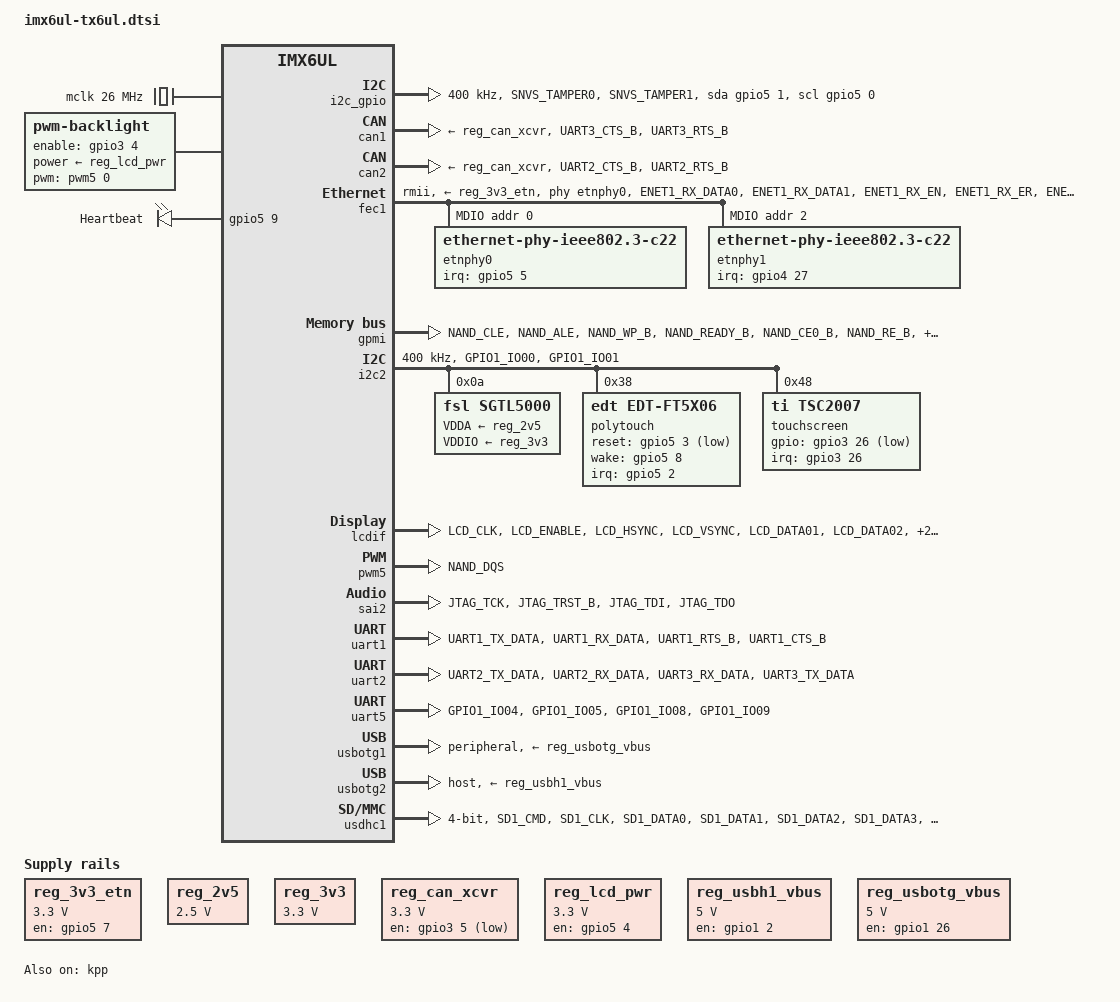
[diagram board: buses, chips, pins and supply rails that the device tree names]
/*
 * Copyright 2015 Lothar Waßmann <LW@KARO-electronics.de>
 *
 * This file is dual-licensed: you can use it either under the terms
 * of the GPL or the X11 license, at your option. Note that this dual
 * licensing only applies to this file, and not this project as a
 * whole.
 *
 *  a) This file is free software; you can redistribute it and/or
 *     modify it under the terms of the GNU General Public License
 *     version 2 as published by the Free Software Foundation.
 *
 *     This file is distributed in the hope that it will be useful,
 *     but WITHOUT ANY WARRANTY; without even the implied warranty of
 *     MERCHANTABILITY or FITNESS FOR A PARTICULAR PURPOSE.  See the
 *     GNU General Public License for more details.
 *
 * Or, alternatively,
 *
 *  b) Permission is hereby granted, free of charge, to any person
 *     obtaining a copy of this software and associated documentation
 *     files (the "Software"), to deal in the Software without
 *     restriction, including without limitation the rights to use,
 *     copy, modify, merge, publish, distribute, sublicense, and/or
 *     sell copies of the Software, and to permit persons to whom the
 *     Software is furnished to do so, subject to the following
 *     conditions:
 *
 *     The above copyright notice and this permission notice shall be
 *     included in all copies or substantial portions of the Software.
 *
 *     THE SOFTWARE IS PROVIDED "AS IS", WITHOUT WARRANTY OF ANY KIND,
 *     EXPRESS OR IMPLIED, INCLUDING BUT NOT LIMITED TO THE WARRANTIES
 *     OF MERCHANTABILITY, FITNESS FOR A PARTICULAR PURPOSE AND
 *     NONINFRINGEMENT. IN NO EVENT SHALL THE AUTHORS OR COPYRIGHT
 *     HOLDERS BE LIABLE FOR ANY CLAIM, DAMAGES OR OTHER LIABILITY,
 *     WHETHER IN AN ACTION OF CONTRACT, TORT OR OTHERWISE, ARISING
 *     FROM, OUT OF OR IN CONNECTION WITH THE SOFTWARE OR THE USE OR
 *     OTHER DEALINGS IN THE SOFTWARE.
 */

#include <dt-bindings/gpio/gpio.h>
#include <dt-bindings/interrupt-controller/irq.h>
#include <dt-bindings/pwm/pwm.h>

/ {
	aliases {
		can0 = &can2;
		can1 = &can1;
		display = &display;
		i2c0 = &i2c2;
		i2c1 = &i2c_gpio;
		i2c2 = &i2c1;
		i2c3 = &i2c3;
		i2c4 = &i2c4;
		lcdif-23bit-pins-a = &pinctrl_disp0_1;
		lcdif-24bit-pins-a = &pinctrl_disp0_2;
		pwm0 = &pwm5;
		reg-can-xcvr = &reg_can_xcvr;
		serial2 = &uart5;
		serial4 = &uart3;
		spi0 = &ecspi2;
		spi1 = &spi_gpio;
		stk5led = &user_led;
		usbh1 = &usbotg2;
		usbotg = &usbotg1;
	};

	chosen {
		stdout-path = &uart1;
	};

	memory@80000000 {
		device_type = "memory";
		reg = <0x80000000 0>; /* will be filled by U-Boot */
	};

	clocks {
		mclk: mclk {
			compatible = "fixed-clock";
			#clock-cells = <0>;
			clock-frequency = <26000000>;
		};
	};

	backlight: backlight {
		compatible = "pwm-backlight";
		pinctrl-names = "default";
		pinctrl-0 = <&pinctrl_lcd_rst>;
		enable-gpios = <&gpio3 4 GPIO_ACTIVE_HIGH>;
		pwms = <&pwm5 0 500000 PWM_POLARITY_INVERTED>;
		power-supply = <&reg_lcd_pwr>;
		/*
		 * a poor man's way to create a 1:1 relationship between
		 * the PWM value and the actual duty cycle
		 */
		brightness-levels = < 0  1  2  3  4  5  6  7  8  9
				     10 11 12 13 14 15 16 17 18 19
				     20 21 22 23 24 25 26 27 28 29
				     30 31 32 33 34 35 36 37 38 39
				     40 41 42 43 44 45 46 47 48 49
				     50 51 52 53 54 55 56 57 58 59
				     60 61 62 63 64 65 66 67 68 69
				     70 71 72 73 74 75 76 77 78 79
				     80 81 82 83 84 85 86 87 88 89
				     90 91 92 93 94 95 96 97 98 99
				    100>;
		default-brightness-level = <50>;
	};

	i2c_gpio: i2c-gpio {
		compatible = "i2c-gpio";
		#address-cells = <1>;
		#size-cells = <0>;
		pinctrl-names = "default";
		pinctrl-0 = <&pinctrl_i2c_gpio>;
		sda-gpios = <&gpio5 1 GPIO_ACTIVE_HIGH>;
		scl-gpios = <&gpio5 0 GPIO_ACTIVE_HIGH>;
		clock-frequency = <400000>;
		status = "okay";

		ds1339: rtc@68 {
			compatible = "dallas,ds1339";
			reg = <0x68>;
			status = "disabled";
		};
	};

	leds {
		compatible = "gpio-leds";

		user_led: led-user {
			label = "Heartbeat";
			pinctrl-names = "default";
			pinctrl-0 = <&pinctrl_led>;
			gpios = <&gpio5 9 GPIO_ACTIVE_HIGH>;
			linux,default-trigger = "heartbeat";
		};
	};

	reg_3v3_etn: regulator-3v3etn {
		compatible = "regulator-fixed";
		regulator-name = "3V3_ETN";
		regulator-min-microvolt = <3300000>;
		regulator-max-microvolt = <3300000>;
		pinctrl-names = "default";
		pinctrl-0 = <&pinctrl_etnphy_power>;
		gpio = <&gpio5 7 GPIO_ACTIVE_HIGH>;
		enable-active-high;
	};

	reg_2v5: regulator-2v5 {
		compatible = "regulator-fixed";
		regulator-name = "2V5";
		regulator-min-microvolt = <2500000>;
		regulator-max-microvolt = <2500000>;
		regulator-always-on;
	};

	reg_3v3: regulator-3v3 {
		compatible = "regulator-fixed";
		regulator-name = "3V3";
		regulator-min-microvolt = <3300000>;
		regulator-max-microvolt = <3300000>;
		regulator-always-on;
	};

	reg_can_xcvr: regulator-canxcvr {
		compatible = "regulator-fixed";
		regulator-name = "CAN XCVR";
		regulator-min-microvolt = <3300000>;
		regulator-max-microvolt = <3300000>;
		pinctrl-names = "default";
		pinctrl-0 = <&pinctrl_flexcan_xcvr>;
		gpio = <&gpio3 5 GPIO_ACTIVE_LOW>;
	};

	reg_lcd_pwr: regulator-lcdpwr {
		compatible = "regulator-fixed";
		regulator-name = "LCD POWER";
		regulator-min-microvolt = <3300000>;
		regulator-max-microvolt = <3300000>;
		pinctrl-names = "default";
		pinctrl-0 = <&pinctrl_lcd_pwr>;
		gpio = <&gpio5 4 GPIO_ACTIVE_HIGH>;
		enable-active-high;
		regulator-boot-on;
		regulator-always-on;
	};

	reg_usbh1_vbus: regulator-usbh1vbus {
		compatible = "regulator-fixed";
		regulator-name = "usbh1_vbus";
		regulator-min-microvolt = <5000000>;
		regulator-max-microvolt = <5000000>;
		pinctrl-names = "default";
		pinctrl-0 = <&pinctrl_usbh1_vbus &pinctrl_usbh1_oc>;
		gpio = <&gpio1 2 GPIO_ACTIVE_HIGH>;
		enable-active-high;
	};

	reg_usbotg_vbus: regulator-usbotgvbus {
		compatible = "regulator-fixed";
		regulator-name = "usbotg_vbus";
		regulator-min-microvolt = <5000000>;
		regulator-max-microvolt = <5000000>;
		pinctrl-names = "default";
		pinctrl-0 = <&pinctrl_usbotg_vbus &pinctrl_usbotg_oc>;
		gpio = <&gpio1 26 GPIO_ACTIVE_HIGH>;
		enable-active-high;
	};

	spi_gpio: spi {
		#address-cells = <1>;
		#size-cells = <0>;
		compatible = "spi-gpio";
		pinctrl-names = "default";
		pinctrl-0 = <&pinctrl_spi_gpio>;
		mosi-gpios = <&gpio1 30 GPIO_ACTIVE_HIGH>;
		miso-gpios = <&gpio1 31 GPIO_ACTIVE_HIGH>;
		sck-gpios = <&gpio1 28 GPIO_ACTIVE_HIGH>;
		num-chipselects = <2>;
		cs-gpios = <
			&gpio1 29 GPIO_ACTIVE_HIGH
			&gpio1 10 GPIO_ACTIVE_HIGH
		>;
		status = "disabled";
	};

	sound {
		compatible = "karo,imx6ul-tx6ul-sgtl5000",
			     "simple-audio-card";
		simple-audio-card,name = "imx6ul-tx6ul-sgtl5000-audio";
		simple-audio-card,format = "i2s";
		simple-audio-card,bitclock-master = <&codec_dai>;
		simple-audio-card,frame-master = <&codec_dai>;
		simple-audio-card,widgets =
			"Microphone", "Mic Jack",
			"Line", "Line In",
			"Line", "Line Out",
			"Headphone", "Headphone Jack";
		simple-audio-card,routing =
			"MIC_IN", "Mic Jack",
			"Mic Jack", "Mic Bias",
			"Headphone Jack", "HP_OUT";

		cpu_dai: simple-audio-card,cpu {
			sound-dai = <&sai2>;
		};

		codec_dai: simple-audio-card,codec {
			sound-dai = <&sgtl5000>;
		};
	};
};

&can1 {
	pinctrl-names = "default";
	pinctrl-0 = <&pinctrl_flexcan1>;
	xceiver-supply = <&reg_can_xcvr>;
	status = "okay";
};

&can2 {
	pinctrl-names = "default";
	pinctrl-0 = <&pinctrl_flexcan2>;
	xceiver-supply = <&reg_can_xcvr>;
	status = "okay";
};

&ecspi2 {
	pinctrl-names = "default";
	pinctrl-0 = <&pinctrl_ecspi2>;
	cs-gpios = <
		&gpio1 29 GPIO_ACTIVE_HIGH
		&gpio1 10 GPIO_ACTIVE_HIGH
	>;
	status = "disabled";
};

&fec1 {
	pinctrl-names = "default";
	pinctrl-0 = <&pinctrl_enet1 &pinctrl_enet1_mdio &pinctrl_etnphy0_rst>;
	phy-mode = "rmii";
	phy-reset-gpios = <&gpio5 6 GPIO_ACTIVE_LOW>;
	phy-supply = <&reg_3v3_etn>;
	phy-handle = <&etnphy0>;
	status = "okay";

	mdio {
		#address-cells = <1>;
		#size-cells = <0>;

		etnphy0: ethernet-phy@0 {
			compatible = "ethernet-phy-ieee802.3-c22";
			reg = <0>;
			pinctrl-names = "default";
			pinctrl-0 = <&pinctrl_etnphy0_int>;
			interrupt-parent = <&gpio5>;
			interrupts = <5 IRQ_TYPE_EDGE_FALLING>;
			status = "okay";
		};

		etnphy1: ethernet-phy@2 {
			compatible = "ethernet-phy-ieee802.3-c22";
			reg = <2>;
			pinctrl-names = "default";
			pinctrl-0 = <&pinctrl_etnphy1_int>;
			interrupt-parent = <&gpio4>;
			interrupts = <27 IRQ_TYPE_EDGE_FALLING>;
			status = "okay";
		};
	};
};

&fec2 {
	pinctrl-names = "default";
	pinctrl-0 = <&pinctrl_enet2 &pinctrl_etnphy1_rst>;
	phy-mode = "rmii";
	phy-reset-gpios = <&gpio4 28 GPIO_ACTIVE_LOW>;
	phy-supply = <&reg_3v3_etn>;
	phy-handle = <&etnphy1>;
	status = "disabled";
};

&gpmi {
	pinctrl-names = "default";
	pinctrl-0 = <&pinctrl_gpmi_nand>;
	nand-on-flash-bbt;
	fsl,no-blockmark-swap;
	status = "okay";
};

&i2c2 {
	pinctrl-names = "default";
	pinctrl-0 = <&pinctrl_i2c2>;
	clock-frequency = <400000>;
	status = "okay";

	sgtl5000: codec@a {
		compatible = "fsl,sgtl5000";
		reg = <0x0a>;
		#sound-dai-cells = <0>;
		VDDA-supply = <&reg_2v5>;
		VDDIO-supply = <&reg_3v3>;
		clocks = <&mclk>;
	};

	polytouch: polytouch@38 {
		compatible = "edt,edt-ft5x06";
		reg = <0x38>;
		pinctrl-names = "default";
		pinctrl-0 = <&pinctrl_edt_ft5x06>;
		interrupt-parent = <&gpio5>;
		interrupts = <2 IRQ_TYPE_EDGE_FALLING>;
		reset-gpios = <&gpio5 3 GPIO_ACTIVE_LOW>;
		wake-gpios = <&gpio5 8 GPIO_ACTIVE_HIGH>;
		wakeup-source;
	};

	touchscreen: touchscreen@48 {
		compatible = "ti,tsc2007";
		reg = <0x48>;
		pinctrl-names = "default";
		pinctrl-0 = <&pinctrl_tsc2007>;
		interrupt-parent = <&gpio3>;
		interrupts = <26 IRQ_TYPE_NONE>;
		gpios = <&gpio3 26 GPIO_ACTIVE_LOW>;
		ti,x-plate-ohms = <660>;
		wakeup-source;
	};
};

&kpp {
	pinctrl-names = "default";
	pinctrl-0 = <&pinctrl_kpp>;
	/* sample keymap */
	/* row/col 0..3 are mapped to KPP row/col 4..7 */
	linux,keymap = <
		MATRIX_KEY(4, 4, KEY_POWER)
		MATRIX_KEY(4, 5, KEY_KP0)
		MATRIX_KEY(4, 6, KEY_KP1)
		MATRIX_KEY(4, 7, KEY_KP2)
		MATRIX_KEY(5, 4, KEY_KP3)
		MATRIX_KEY(5, 5, KEY_KP4)
		MATRIX_KEY(5, 6, KEY_KP5)
		MATRIX_KEY(5, 7, KEY_KP6)
		MATRIX_KEY(6, 4, KEY_KP7)
		MATRIX_KEY(6, 5, KEY_KP8)
		MATRIX_KEY(6, 6, KEY_KP9)
	>;
	status = "okay";
};

&lcdif {
	pinctrl-names = "default";
	pinctrl-0 = <&pinctrl_disp0_1>;
	lcd-supply = <&reg_lcd_pwr>;
	display = <&display>;
	status = "okay";

	display: disp0 {
		bits-per-pixel = <32>;
		bus-width = <24>;
		status = "okay";

		display-timings {
			timing-vga {
				clock-frequency = <25200000>;
				hactive = <640>;
				vactive = <480>;
				hback-porch = <48>;
				hsync-len = <96>;
				hfront-porch = <16>;
				vback-porch = <31>;
				vsync-len = <2>;
				vfront-porch = <12>;
				hsync-active = <0>;
				vsync-active = <0>;
				de-active = <1>;
				pixelclk-active = <1>;
			};

			timing-etv570 {
				clock-frequency = <25200000>;
				hactive = <640>;
				vactive = <480>;
				hback-porch = <114>;
				hsync-len = <30>;
				hfront-porch = <16>;
				vback-porch = <32>;
				vsync-len = <3>;
				vfront-porch = <10>;
				hsync-active = <0>;
				vsync-active = <0>;
				de-active = <1>;
				pixelclk-active = <1>;
			};

			timing-et0350 {
				clock-frequency = <6413760>;
				hactive = <320>;
				vactive = <240>;
				hback-porch = <34>;
				hsync-len = <34>;
				hfront-porch = <20>;
				vback-porch = <15>;
				vsync-len = <3>;
				vfront-porch = <4>;
				hsync-active = <0>;
				vsync-active = <0>;
				de-active = <1>;
				pixelclk-active = <1>;
			};

			timing-et0430 {
				clock-frequency = <9009000>;
				hactive = <480>;
				vactive = <272>;
				hback-porch = <2>;
				hsync-len = <41>;
				hfront-porch = <2>;
				vback-porch = <2>;
				vsync-len = <10>;
				vfront-porch = <2>;
				hsync-active = <0>;
				vsync-active = <0>;
				de-active = <1>;
				pixelclk-active = <0>;
			};

			timing-et0500 {
				clock-frequency = <33264000>;
				hactive = <800>;
				vactive = <480>;
				hback-porch = <88>;
				hsync-len = <128>;
				hfront-porch = <40>;
				vback-porch = <33>;
				vsync-len = <2>;
				vfront-porch = <10>;
				hsync-active = <0>;
				vsync-active = <0>;
				de-active = <1>;
				pixelclk-active = <1>;
			};

			timing-et0700 { /* same as ET0500 */
				clock-frequency = <33264000>;
				hactive = <800>;
				vactive = <480>;
				hback-porch = <88>;
				hsync-len = <128>;
				hfront-porch = <40>;
				vback-porch = <33>;
				vsync-len = <2>;
				vfront-porch = <10>;
				hsync-active = <0>;
				vsync-active = <0>;
				de-active = <1>;
				pixelclk-active = <1>;
			};

			timing-etq570 {
				clock-frequency = <6596040>;
				hactive = <320>;
				vactive = <240>;
				hback-porch = <38>;
				hsync-len = <30>;
				hfront-porch = <30>;
				vback-porch = <16>;
				vsync-len = <3>;
				vfront-porch = <4>;
				hsync-active = <0>;
				vsync-active = <0>;
				de-active = <1>;
				pixelclk-active = <1>;
			};
		};
	};
};

&pwm5 {
	pinctrl-names = "default";
	pinctrl-0 = <&pinctrl_pwm5>;
	status = "okay";
};

&sai2 {
	pinctrl-names = "default";
	pinctrl-0 = <&pinctrl_sai2>;
	status = "okay";
};

&uart1 {
	pinctrl-names = "default";
	pinctrl-0 = <&pinctrl_uart1 &pinctrl_uart1_rtscts>;
	uart-has-rtscts;
	status = "okay";
};

&uart2 {
	pinctrl-names = "default";
	pinctrl-0 = <&pinctrl_uart2 &pinctrl_uart2_rtscts>;
	uart-has-rtscts;
	status = "okay";
};

&uart5 {
	pinctrl-names = "default";
	pinctrl-0 = <&pinctrl_uart5 &pinctrl_uart5_rtscts>;
	uart-has-rtscts;
	status = "okay";
};

&usbotg1 {
	vbus-supply = <&reg_usbotg_vbus>;
	dr_mode = "peripheral";
	disable-over-current;
	status = "okay";
};

&usbotg2 {
	vbus-supply = <&reg_usbh1_vbus>;
	dr_mode = "host";
	disable-over-current;
	status = "okay";
};

&usdhc1 {
	pinctrl-names = "default";
	pinctrl-0 = <&pinctrl_usdhc1 &pinctrl_usdhc1_cd>;
	bus-width = <4>;
	no-1-8-v;
	cd-gpios = <&gpio4 14 GPIO_ACTIVE_LOW>;
	fsl,wp-controller;
	status = "okay";
};

&iomuxc {
	pinctrl_led: ledgrp {
		fsl,pins = <
			MX6UL_PAD_SNVS_TAMPER9__GPIO5_IO09	0x0b0b0 /* LED */
		>;
	};

	pinctrl_disp0_1: disp0-1-grp {
		fsl,pins = <
			MX6UL_PAD_LCD_CLK__LCDIF_CLK		0x10 /* LSCLK */
			MX6UL_PAD_LCD_ENABLE__LCDIF_ENABLE	0x10 /* OE_ACD */
			MX6UL_PAD_LCD_HSYNC__LCDIF_HSYNC	0x10 /* HSYNC */
			MX6UL_PAD_LCD_VSYNC__LCDIF_VSYNC	0x10 /* VSYNC */
			/* PAD DISP0_DAT0 is used for the Flexcan transceiver control on STK5-v5 */
			MX6UL_PAD_LCD_DATA01__LCDIF_DATA01	0x10
			MX6UL_PAD_LCD_DATA02__LCDIF_DATA02	0x10
			MX6UL_PAD_LCD_DATA03__LCDIF_DATA03	0x10
			MX6UL_PAD_LCD_DATA04__LCDIF_DATA04	0x10
			MX6UL_PAD_LCD_DATA05__LCDIF_DATA05	0x10
			MX6UL_PAD_LCD_DATA06__LCDIF_DATA06	0x10
			MX6UL_PAD_LCD_DATA07__LCDIF_DATA07	0x10
			MX6UL_PAD_LCD_DATA08__LCDIF_DATA08	0x10
			MX6UL_PAD_LCD_DATA09__LCDIF_DATA09	0x10
			MX6UL_PAD_LCD_DATA10__LCDIF_DATA10	0x10
			MX6UL_PAD_LCD_DATA11__LCDIF_DATA11	0x10
			MX6UL_PAD_LCD_DATA12__LCDIF_DATA12	0x10
			MX6UL_PAD_LCD_DATA13__LCDIF_DATA13	0x10
			MX6UL_PAD_LCD_DATA14__LCDIF_DATA14	0x10
			MX6UL_PAD_LCD_DATA15__LCDIF_DATA15	0x10
			MX6UL_PAD_LCD_DATA16__LCDIF_DATA16	0x10
			MX6UL_PAD_LCD_DATA17__LCDIF_DATA17	0x10
			MX6UL_PAD_LCD_DATA18__LCDIF_DATA18	0x10
			MX6UL_PAD_LCD_DATA19__LCDIF_DATA19	0x10
			MX6UL_PAD_LCD_DATA20__LCDIF_DATA20	0x10
			MX6UL_PAD_LCD_DATA21__LCDIF_DATA21	0x10
			MX6UL_PAD_LCD_DATA22__LCDIF_DATA22	0x10
			MX6UL_PAD_LCD_DATA23__LCDIF_DATA23	0x10
		>;
	};

	pinctrl_disp0_2: disp0-2-grp {
		fsl,pins = <
			MX6UL_PAD_LCD_CLK__LCDIF_CLK		0x10 /* LSCLK */
			MX6UL_PAD_LCD_ENABLE__LCDIF_ENABLE	0x10 /* OE_ACD */
			MX6UL_PAD_LCD_HSYNC__LCDIF_HSYNC	0x10 /* HSYNC */
			MX6UL_PAD_LCD_VSYNC__LCDIF_VSYNC	0x10 /* VSYNC */
			MX6UL_PAD_LCD_DATA00__LCDIF_DATA00	0x10
			MX6UL_PAD_LCD_DATA01__LCDIF_DATA01	0x10
			MX6UL_PAD_LCD_DATA02__LCDIF_DATA02	0x10
			MX6UL_PAD_LCD_DATA03__LCDIF_DATA03	0x10
			MX6UL_PAD_LCD_DATA04__LCDIF_DATA04	0x10
			MX6UL_PAD_LCD_DATA05__LCDIF_DATA05	0x10
			MX6UL_PAD_LCD_DATA06__LCDIF_DATA06	0x10
			MX6UL_PAD_LCD_DATA07__LCDIF_DATA07	0x10
			MX6UL_PAD_LCD_DATA08__LCDIF_DATA08	0x10
			MX6UL_PAD_LCD_DATA09__LCDIF_DATA09	0x10
			MX6UL_PAD_LCD_DATA10__LCDIF_DATA10	0x10
			MX6UL_PAD_LCD_DATA11__LCDIF_DATA11	0x10
			MX6UL_PAD_LCD_DATA12__LCDIF_DATA12	0x10
			MX6UL_PAD_LCD_DATA13__LCDIF_DATA13	0x10
			MX6UL_PAD_LCD_DATA14__LCDIF_DATA14	0x10
			MX6UL_PAD_LCD_DATA15__LCDIF_DATA15	0x10
			MX6UL_PAD_LCD_DATA16__LCDIF_DATA16	0x10
			MX6UL_PAD_LCD_DATA17__LCDIF_DATA17	0x10
			MX6UL_PAD_LCD_DATA18__LCDIF_DATA18	0x10
			MX6UL_PAD_LCD_DATA19__LCDIF_DATA19	0x10
			MX6UL_PAD_LCD_DATA20__LCDIF_DATA20	0x10
			MX6UL_PAD_LCD_DATA21__LCDIF_DATA21	0x10
			MX6UL_PAD_LCD_DATA22__LCDIF_DATA22	0x10
			MX6UL_PAD_LCD_DATA23__LCDIF_DATA23	0x10
		>;
	};

	pinctrl_ecspi2: ecspi2grp {
		fsl,pins = <
			MX6UL_PAD_UART4_RX_DATA__GPIO1_IO29	0x0b0b0 /* CSPI_SS */
			MX6UL_PAD_JTAG_MOD__GPIO1_IO10		0x0b0b0 /* CSPI_SS */
			MX6UL_PAD_UART5_TX_DATA__ECSPI2_MOSI	0x0b0b0 /* CSPI_MOSI */
			MX6UL_PAD_UART5_RX_DATA__ECSPI2_MISO	0x0b0b0 /* CSPI_MISO */
			MX6UL_PAD_UART4_TX_DATA__ECSPI2_SCLK	0x0b0b0 /* CSPI_SCLK */
		>;
	};

	pinctrl_edt_ft5x06: edt-ft5x06grp {
		fsl,pins = <
			MX6UL_PAD_SNVS_TAMPER2__GPIO5_IO02	0x1b0b0 /* Interrupt */
			MX6UL_PAD_SNVS_TAMPER3__GPIO5_IO03	0x1b0b0 /* Reset */
			MX6UL_PAD_SNVS_TAMPER8__GPIO5_IO08	0x1b0b0 /* Wake */
		>;
	};

	pinctrl_enet1: enet1grp {
		fsl,pins = <
			MX6UL_PAD_ENET1_RX_DATA0__ENET1_RDATA00	0x000b0
			MX6UL_PAD_ENET1_RX_DATA1__ENET1_RDATA01	0x000b0
			MX6UL_PAD_ENET1_RX_EN__ENET1_RX_EN	0x000b0
			MX6UL_PAD_ENET1_RX_ER__ENET1_RX_ER	0x000b0
			MX6UL_PAD_ENET1_TX_EN__ENET1_TX_EN	0x000b0
			MX6UL_PAD_ENET1_TX_DATA0__ENET1_TDATA00	0x000b0
			MX6UL_PAD_ENET1_TX_DATA1__ENET1_TDATA01	0x000b0
			MX6UL_PAD_ENET1_TX_CLK__ENET1_REF_CLK1	0x400000b1
		>;
	};

	pinctrl_enet2: enet2grp {
		fsl,pins = <
			MX6UL_PAD_ENET2_RX_DATA0__ENET2_RDATA00	0x000b0
			MX6UL_PAD_ENET2_RX_DATA1__ENET2_RDATA01	0x000b0
			MX6UL_PAD_ENET2_RX_EN__ENET2_RX_EN	0x000b0
			MX6UL_PAD_ENET2_RX_ER__ENET2_RX_ER	0x000b0
			MX6UL_PAD_ENET2_TX_EN__ENET2_TX_EN	0x000b0
			MX6UL_PAD_ENET2_TX_DATA0__ENET2_TDATA00	0x000b0
			MX6UL_PAD_ENET2_TX_DATA1__ENET2_TDATA01	0x000b0
			MX6UL_PAD_ENET2_TX_CLK__ENET2_REF_CLK2	0x400000b1
		>;
	};

	pinctrl_enet1_mdio: enet1-mdiogrp {
		fsl,pins = <
			MX6UL_PAD_GPIO1_IO07__ENET1_MDC		0x0b0b0
			MX6UL_PAD_GPIO1_IO06__ENET1_MDIO	0x1b0b0
		>;
	};

	pinctrl_etnphy_power: etnphy-pwrgrp {
		fsl,pins = <
			MX6UL_PAD_SNVS_TAMPER7__GPIO5_IO07	0x0b0b0 /* ETN PHY POWER */
		>;
	};

	pinctrl_etnphy0_int: etnphy-int-0-grp {
		fsl,pins = <
			MX6UL_PAD_SNVS_TAMPER5__GPIO5_IO05	0x0b0b0 /* ETN PHY INT */
		>;
	};

	pinctrl_etnphy0_rst: etnphy-rst-0-grp {
		fsl,pins = <
			MX6UL_PAD_SNVS_TAMPER6__GPIO5_IO06	0x0b0b0 /* ETN PHY RESET */
		>;
	};

	pinctrl_etnphy1_int: etnphy-int-1-grp {
		fsl,pins = <
			MX6UL_PAD_CSI_DATA06__GPIO4_IO27	0x0b0b0 /* ETN PHY INT */
		>;
	};

	pinctrl_etnphy1_rst: etnphy-rst-1-grp {
		fsl,pins = <
			MX6UL_PAD_CSI_DATA07__GPIO4_IO28	0x0b0b0 /* ETN PHY RESET */
		>;
	};

	pinctrl_flexcan1: flexcan1grp {
		fsl,pins = <
			MX6UL_PAD_UART3_CTS_B__FLEXCAN1_TX	0x0b0b0
			MX6UL_PAD_UART3_RTS_B__FLEXCAN1_RX	0x0b0b0
		>;
	};

	pinctrl_flexcan2: flexcan2grp {
		fsl,pins = <
			MX6UL_PAD_UART2_CTS_B__FLEXCAN2_TX	0x0b0b0
			MX6UL_PAD_UART2_RTS_B__FLEXCAN2_RX	0x0b0b0
		>;
	};

	pinctrl_flexcan_xcvr: flexcan-xcvrgrp {
		fsl,pins = <
			MX6UL_PAD_LCD_DATA00__GPIO3_IO05	0x0b0b0 /* Flexcan XCVR enable */
		>;
	};

	pinctrl_gpmi_nand: gpminandgrp {
		fsl,pins = <
			MX6UL_PAD_NAND_CLE__RAWNAND_CLE		0x0b0b1
			MX6UL_PAD_NAND_ALE__RAWNAND_ALE		0x0b0b1
			MX6UL_PAD_NAND_WP_B__RAWNAND_WP_B	0x0b0b1
			MX6UL_PAD_NAND_READY_B__RAWNAND_READY_B	0x0b000
			MX6UL_PAD_NAND_CE0_B__RAWNAND_CE0_B	0x0b0b1
			MX6UL_PAD_NAND_RE_B__RAWNAND_RE_B	0x0b0b1
			MX6UL_PAD_NAND_WE_B__RAWNAND_WE_B	0x0b0b1
			MX6UL_PAD_NAND_DATA00__RAWNAND_DATA00	0x0b0b1
			MX6UL_PAD_NAND_DATA01__RAWNAND_DATA01	0x0b0b1
			MX6UL_PAD_NAND_DATA02__RAWNAND_DATA02	0x0b0b1
			MX6UL_PAD_NAND_DATA03__RAWNAND_DATA03	0x0b0b1
			MX6UL_PAD_NAND_DATA04__RAWNAND_DATA04	0x0b0b1
			MX6UL_PAD_NAND_DATA05__RAWNAND_DATA05	0x0b0b1
			MX6UL_PAD_NAND_DATA06__RAWNAND_DATA06	0x0b0b1
			MX6UL_PAD_NAND_DATA07__RAWNAND_DATA07	0x0b0b1
		>;
	};

	pinctrl_i2c_gpio: i2c-gpiogrp {
		fsl,pins = <
			MX6UL_PAD_SNVS_TAMPER0__GPIO5_IO00	0x4001b8b1 /* I2C SCL */
			MX6UL_PAD_SNVS_TAMPER1__GPIO5_IO01	0x4001b8b1 /* I2C SDA */
		>;
	};

	pinctrl_i2c2: i2c2grp {
		fsl,pins = <
			MX6UL_PAD_GPIO1_IO00__I2C2_SCL		0x4001b8b1
			MX6UL_PAD_GPIO1_IO01__I2C2_SDA		0x4001b8b1
		>;
	};

	pinctrl_kpp: kppgrp {
		fsl,pins = <
			MX6UL_PAD_ENET2_RX_DATA1__KPP_COL04	0x1b0b0
			MX6UL_PAD_ENET2_TX_DATA0__KPP_COL05	0x1b0b0
			MX6UL_PAD_ENET2_TX_EN__KPP_COL06	0x1b0b0
			MX6UL_PAD_ENET2_RX_ER__KPP_COL07	0x1b0b0
			MX6UL_PAD_ENET2_RX_DATA0__KPP_ROW04	0x1b0b0
			MX6UL_PAD_ENET2_RX_EN__KPP_ROW05	0x1b0b0
			MX6UL_PAD_ENET2_TX_DATA1__KPP_ROW06	0x1b0b0
			MX6UL_PAD_ENET2_TX_CLK__KPP_ROW07	0x1b0b0
		>;
	};

	pinctrl_lcd_pwr: lcd-pwrgrp {
		fsl,pins = <
			MX6UL_PAD_SNVS_TAMPER4__GPIO5_IO04	0x0b0b0 /* LCD Power Enable */
		>;
	};

	pinctrl_lcd_rst: lcd-rstgrp {
		fsl,pins = <
			MX6UL_PAD_LCD_RESET__GPIO3_IO04	0x0b0b0 /* LCD Reset */
		>;
	};

	pinctrl_pwm5: pwm5grp {
		fsl,pins = <
			MX6UL_PAD_NAND_DQS__PWM5_OUT		0x0b0b0
		>;
	};

	pinctrl_sai2: sai2grp {
		fsl,pins = <
			MX6UL_PAD_JTAG_TCK__SAI2_RX_DATA	0x0b0b0 /* SSI1_RXD */
			MX6UL_PAD_JTAG_TRST_B__SAI2_TX_DATA	0x0b0b0 /* SSI1_TXD */
			MX6UL_PAD_JTAG_TDI__SAI2_TX_BCLK	0x0b0b0 /* SSI1_CLK */
			MX6UL_PAD_JTAG_TDO__SAI2_TX_SYNC	0x0b0b0 /* SSI1_FS */
		>;
	};

	pinctrl_spi_gpio: spi-gpiogrp {
		fsl,pins = <
			MX6UL_PAD_UART4_RX_DATA__GPIO1_IO29	0x0b0b0 /* CSPI_SS */
			MX6UL_PAD_JTAG_MOD__GPIO1_IO10		0x0b0b0 /* CSPI_SS */
			MX6UL_PAD_UART5_TX_DATA__GPIO1_IO30	0x0b0b0 /* CSPI_MOSI */
			MX6UL_PAD_UART5_RX_DATA__GPIO1_IO31	0x0b0b0 /* CSPI_MISO */
			MX6UL_PAD_UART4_TX_DATA__GPIO1_IO28	0x0b0b0 /* CSPI_SCLK */
		>;
	};

	pinctrl_tsc2007: tsc2007grp {
		fsl,pins = <
			MX6UL_PAD_JTAG_TMS__GPIO1_IO11		0x1b0b0 /* Interrupt */
		>;
	};

	pinctrl_uart1: uart1grp {
		fsl,pins = <
			MX6UL_PAD_UART1_TX_DATA__UART1_DCE_TX	0x0b0b0
			MX6UL_PAD_UART1_RX_DATA__UART1_DCE_RX	0x0b0b0
		>;
	};

	pinctrl_uart1_rtscts: uart1-rtsctsgrp {
		fsl,pins = <
			MX6UL_PAD_UART1_RTS_B__UART1_DCE_RTS	0x0b0b0
			MX6UL_PAD_UART1_CTS_B__UART1_DCE_CTS	0x0b0b0
		>;
	};

	pinctrl_uart2: uart2grp {
		fsl,pins = <
			MX6UL_PAD_UART2_TX_DATA__UART2_DCE_TX	0x0b0b0
			MX6UL_PAD_UART2_RX_DATA__UART2_DCE_RX	0x0b0b0
		>;
	};

	pinctrl_uart2_rtscts: uart2-rtsctsgrp {
		fsl,pins = <
			MX6UL_PAD_UART3_RX_DATA__UART2_DCE_RTS	0x0b0b0
			MX6UL_PAD_UART3_TX_DATA__UART2_DCE_CTS	0x0b0b0
		>;
	};

	pinctrl_uart5: uart5grp {
		fsl,pins = <
			MX6UL_PAD_GPIO1_IO04__UART5_DCE_TX	0x0b0b0
			MX6UL_PAD_GPIO1_IO05__UART5_DCE_RX	0x0b0b0
		>;
	};

	pinctrl_uart5_rtscts: uart5-rtsctsgrp {
		fsl,pins = <
			MX6UL_PAD_GPIO1_IO08__UART5_DCE_RTS	0x0b0b0
			MX6UL_PAD_GPIO1_IO09__UART5_DCE_CTS	0x0b0b0
		>;
	};

	pinctrl_usbh1_oc: usbh1-ocgrp {
		fsl,pins = <
			MX6UL_PAD_GPIO1_IO03__GPIO1_IO03	0x17059 /* USBH1_OC */
		>;
	};

	pinctrl_usbh1_vbus: usbh1-vbusgrp {
		fsl,pins = <
			MX6UL_PAD_GPIO1_IO02__GPIO1_IO02	0x0b0b0 /* USBH1_VBUSEN */
		>;
	};

	pinctrl_usbotg_oc: usbotg-ocgrp {
		fsl,pins = <
			MX6UL_PAD_UART3_RTS_B__GPIO1_IO27	0x17059 /* USBOTG_OC */
		>;
	};

	pinctrl_usbotg_vbus: usbotg-vbusgrp {
		fsl,pins = <
			MX6UL_PAD_UART3_CTS_B__GPIO1_IO26	0x1b0b0 /* USBOTG_VBUSEN */
		>;
	};

	pinctrl_usdhc1: usdhc1grp {
		fsl,pins = <
			MX6UL_PAD_SD1_CMD__USDHC1_CMD		0x070b1
			MX6UL_PAD_SD1_CLK__USDHC1_CLK		0x07099
			MX6UL_PAD_SD1_DATA0__USDHC1_DATA0	0x070b1
			MX6UL_PAD_SD1_DATA1__USDHC1_DATA1	0x070b1
			MX6UL_PAD_SD1_DATA2__USDHC1_DATA2	0x070b1
			MX6UL_PAD_SD1_DATA3__USDHC1_DATA3	0x070b1
		>;
	};

	pinctrl_usdhc1_cd: usdhc1cdgrp {
		fsl,pins = <
			MX6UL_PAD_NAND_CE1_B__GPIO4_IO14	0x170b0 /* SD1 CD */
		>;
	};

	pinctrl_usdhc2: usdhc2grp {
		fsl,pins = <
			MX6UL_PAD_NAND_WE_B__USDHC2_CMD		0x070b1
			MX6UL_PAD_NAND_RE_B__USDHC2_CLK		0x070b1
			MX6UL_PAD_NAND_DATA00__USDHC2_DATA0	0x070b1
			MX6UL_PAD_NAND_DATA01__USDHC2_DATA1	0x070b1
			MX6UL_PAD_NAND_DATA02__USDHC2_DATA2	0x070b1
			MX6UL_PAD_NAND_DATA03__USDHC2_DATA3	0x070b1
			/* eMMC RESET */
			MX6UL_PAD_NAND_ALE__USDHC2_RESET_B	0x170b0
		>;
	};
};
